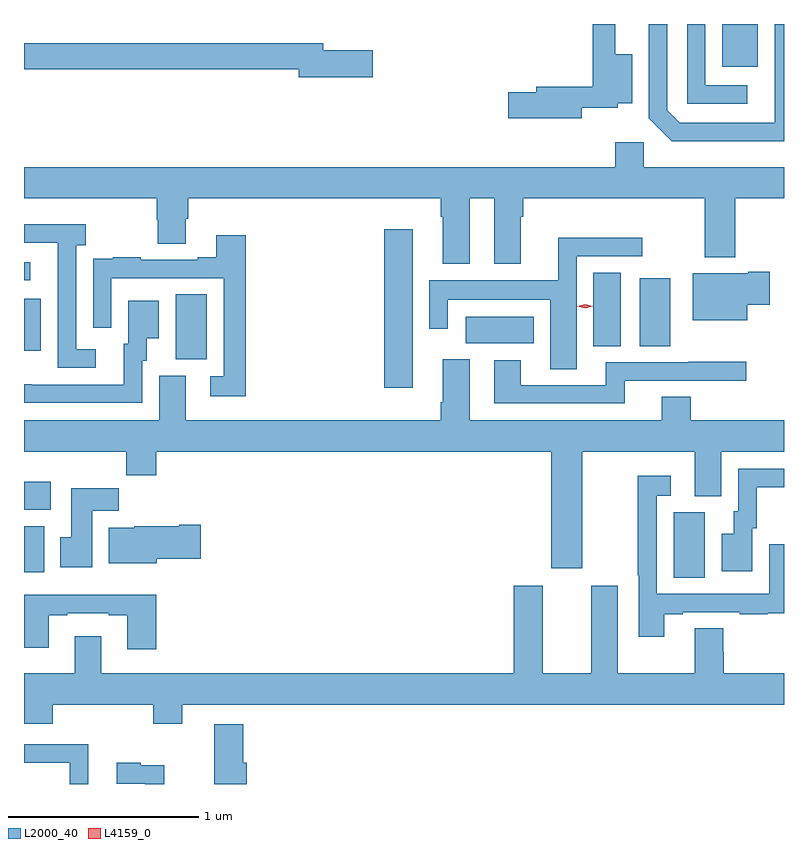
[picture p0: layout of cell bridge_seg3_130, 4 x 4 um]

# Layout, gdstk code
import gdstk
lib = gdstk.Library(unit=1e-6, precision=1e-09)
def R(c, l, rs):  # rectangles x0, y0, x1, y1
    for r in rs: c.add(gdstk.rectangle(r[:2], r[2:], *l))
def P(c, l, *ps):  # polygons
    for p in ps: c.add(gdstk.Polygon(p, *l))
L2000_40 = (2000, 40)
L4159_0 = (4159, 0)

bridge_seg3_130 = lib.new_cell('bridge_seg3_130')
R(bridge_seg3_130, L2000_40, [(338.48,706.912,338.644,707.256), (335.06,706.94,335.167,707.182), (335.06,707.27,335.2,707.416), (336.956,707.912,337.105,708.745), (335.858,708.061,336.022,708.404), (335.06,708.105,335.149,708.379), (338.057,708.13,338.2,708.518), (338.3,708.13,338.461,708.487), (337.386,708.146,337.744,708.286), (335.06,708.477,335.092,708.573), (338.735,709.601,338.923,709.826)])
P(bridge_seg3_130, L2000_40, [(339.06,709.826),(339.012,709.826),(339.012,709.505),(339.011,709.505),(339.011,709.305),(338.511,709.305),(338.445,709.371),(338.445,709.825),(338.349,709.825),(338.349,709.329),(338.47,709.208),(339.06,709.208)],
  [(338.866,709.503),(338.646,709.503),(338.646,709.823),(338.643,709.823),(338.643,709.826),(338.55,709.826),(338.55,709.407),(338.866,709.407)],
  [(337.996,709.385),(338.184,709.385),(338.184,709.409),(338.26,709.409),(338.26,709.666),(338.171,709.666),(338.171,709.826),(338.053,709.826),(338.053,709.496),(337.757,709.496),(337.757,709.466),(337.608,709.466),(337.608,709.331),(337.996,709.331)],
  [(336.895,709.688),(336.634,709.688),(336.634,709.724),(335.06,709.724),(335.06,709.588),(336.506,709.588),(336.506,709.546),(336.895,709.546)],
  [(337.405,708.908),(337.535,708.908),(337.535,708.563),(337.675,708.563),(337.675,708.812),(337.688,708.812),(337.688,708.908),(338.644,708.908),(338.644,708.599),(338.804,708.599),(338.804,708.908),(339.06,708.908),(339.06,709.072),(338.322,709.072),(338.322,709.204),(338.171,709.204),(338.171,709.072),(335.06,709.072),(335.06,708.908),(335.759,708.908),(335.759,708.795),(335.764,708.795),(335.764,708.67),(335.911,708.67),(335.911,708.802),(335.924,708.802),(335.924,708.908),(337.253,708.908),(337.253,708.812),(337.265,708.812),(337.265,708.563),(337.405,708.563)],
  [(335.437,708.114),(335.334,708.114),(335.334,708.662),(335.386,708.662),(335.386,708.772),(335.06,708.772),(335.06,708.675),(335.237,708.675),(335.237,708.475),(335.238,708.475),(335.238,708.018),(335.437,708.018)],
  [(336.227,708.715),(336.071,708.715),(336.071,708.598),(335.975,708.598),(335.975,708.585),(335.675,708.585),(335.675,708.598),(335.527,708.598),(335.527,708.591),(335.425,708.591),(335.425,708.482),(335.424,708.482),(335.424,708.228),(335.52,708.228),(335.52,708.489),(336.111,708.489),(336.111,707.973),(336.039,707.973),(336.039,707.868),(336.227,707.868)],
  [(337.969,708.603),(338.314,708.603),(338.314,708.701),(337.871,708.701),(337.871,708.478),(337.194,708.478),(337.194,708.222),(337.29,708.222),(337.29,708.374),(337.829,708.374),(337.829,708.01),(337.969,708.01)],
  [(338.866,708.349),(338.986,708.349),(338.986,708.522),(338.873,708.522),(338.873,708.514),(338.579,708.514),(338.579,708.266),(338.866,708.266)],
  [(335.682,708.054),(335.707,708.054),(335.707,708.173),(335.77,708.173),(335.77,708.37),(335.609,708.37),(335.609,708.144),(335.585,708.144),(335.585,707.928),(335.101,707.928),(335.101,707.929),(335.06,707.929),(335.06,707.832),(335.682,707.832)],
  [(337.835,706.962),(337.999,706.962),(337.999,707.576),(338.591,707.576),(338.591,707.341),(338.731,707.341),(338.731,707.576),(339.06,707.576),(339.06,707.74),(338.57,707.74),(338.57,707.864),(338.417,707.864),(338.417,707.74),(337.405,707.74),(337.405,708.061),(337.265,708.061),(337.265,707.836),(337.253,707.836),(337.253,707.74),(335.911,707.74),(335.911,707.976),(335.771,707.976),(335.771,707.74),(335.06,707.74),(335.06,707.576),(335.599,707.576),(335.599,707.452),(335.756,707.452),(335.756,707.576),(337.835,707.576)],
  [(338.222,707.949),(338.86,707.949),(338.86,708.048),(338.557,708.048),(338.557,708.045),(338.123,708.045),(338.123,707.925),(337.675,707.925),(337.675,708.055),(337.535,708.055),(337.535,707.829),(338.222,707.829)],
  [(338.893,707.172),(338.917,707.172),(338.917,707.388),(339.06,707.388),(339.06,707.484),(338.82,707.484),(338.82,707.262),(338.795,707.262),(338.795,707.143),(338.732,707.143),(338.732,706.947),(338.893,706.947)],
  [(338.431,706.719),(338.527,706.719),(338.527,706.731),(338.827,706.731),(338.827,706.719),(338.975,706.719),(338.975,706.725),(339.06,706.725),(339.06,707.089),(338.982,707.089),(338.982,706.827),(338.391,706.827),(338.391,707.343),(338.464,707.343),(338.464,707.449),(338.29,707.449),(338.29,706.924),(338.295,706.924),(338.295,706.602),(338.431,706.602)],
  [(335.419,707.264),(335.558,707.264),(335.558,707.383),(335.309,707.383),(335.309,707.124),(335.252,707.124),(335.252,706.968),(335.419,706.968)],
  [(335.758,707.012),(335.989,707.012),(335.989,707.19),(335.876,707.19),(335.876,707.182),(335.64,707.182),(335.64,707.176),(335.507,707.176),(335.507,706.988),(335.758,706.988)],
  [(335.467,706.603),(335.327,706.603),(335.327,706.408),(335.06,706.408),(335.06,706.142),(335.21,706.142),(335.21,706.244),(335.741,706.244),(335.741,706.142),(335.893,706.142),(335.893,706.244),(339.06,706.244),(339.06,706.408),(338.744,706.408),(338.744,706.521),(338.739,706.521),(338.739,706.646),(338.591,706.646),(338.591,706.408),(338.185,706.408),(338.185,706.87),(338.045,706.87),(338.045,706.408),(337.789,706.408),(337.789,706.87),(337.637,706.87),(337.637,706.408),(335.467,706.408)],
  [(335.756,706.822),(335.06,706.822),(335.06,706.544),(335.191,706.544),(335.191,706.713),(335.287,706.713),(335.287,706.725),(335.507,706.725),(335.507,706.713),(335.603,706.713),(335.603,706.536),(335.756,706.536)],
  [(336.233,705.939),(336.215,705.939),(336.215,706.141),(336.062,706.141),(336.062,705.826),(336.233,705.826)],
  [(335.398,706.035),(335.06,706.035),(335.06,705.939),(335.301,705.939),(335.301,705.826),(335.398,705.826)],
  [(335.798,705.926),(335.675,705.926),(335.675,705.937),(335.547,705.937),(335.547,705.828),(335.697,705.828),(335.697,705.826),(335.798,705.826)])
P(bridge_seg3_130, L4159_0, [(338.013,708.33),(337.972,708.34),(337.972,708.34),(337.972,708.341),(338.013,708.35),(338.054,708.34),(338.054,708.34),(338.054,708.34)])

lib.write_gds('bridge_seg3_130.gds')
